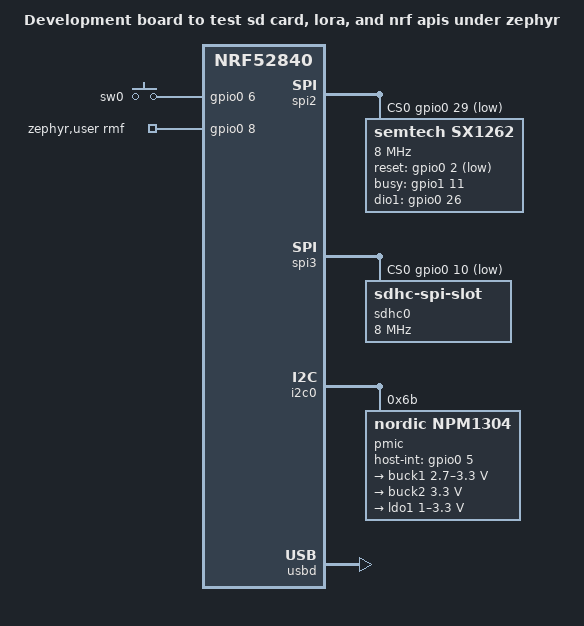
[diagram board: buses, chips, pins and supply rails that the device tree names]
/dts-v1/;

#include <nordic/nrf52840_qiaa.dtsi>
#include <zephyr/dt-bindings/gpio/gpio.h>
#include "cansat_devboard-pinctrl.dtsi"

/ {
	model = "Development board to test sd card, lora, and nrf apis under zephyr";
	compatible = "ksp,cansat-devboard";

	chosen {
		zephyr,sram = &sram0;
		zephyr,flash = &flash0;
		zephyr,code-partition = &slot0_partition;
		zephyr,console = &board_cdc_acm_uart;
		zephyr,shell-uart = &board_cdc_acm_uart;
	};

	buttons {
		compatible = "gpio-keys";

		sw0: sw0 {
			gpios = <&gpio0 6 0>;
			label = "sw0";
		};
	};

	zephyr,user {
		rmf-gpios = <&gpio0 8 GPIO_ACTIVE_HIGH>;
	};
};

// SX1262 LoRa radio
&spi2 {
	status = "okay";
	cs-gpios = <&gpio0 29 GPIO_ACTIVE_LOW>;
	pinctrl-0 = <&spi2_default>;
	pinctrl-1 = <&spi2_sleep>;
	pinctrl-names = "default", "sleep";

	sx1262: lora@0 {
		compatible = "semtech,sx1262";
		reg = <0x0>;
		spi-max-frequency = <DT_FREQ_M(8)>;
		status = "okay";
		reset-gpios = <&gpio0 2 GPIO_ACTIVE_LOW>;
		busy-gpios = <&gpio1 11 GPIO_ACTIVE_HIGH>;
		dio1-gpios = <&gpio0 26 0>;
	};
};

// microSD card over SPI
&spi3 {
	status = "okay";
	cs-gpios = <&gpio0 10 GPIO_ACTIVE_LOW>;
	pinctrl-0 = <&spi3_default>;
	pinctrl-1 = <&spi3_sleep>;
	pinctrl-names = "default", "sleep";

	sdhc0: sdhc@0 {
		compatible = "zephyr,sdhc-spi-slot";
		reg = <0x0>;
		spi-max-frequency = <DT_FREQ_M(8)>;
		status = "okay";

		mmc: mmc {
			compatible = "zephyr,sdmmc-disk";
			disk-name = "SD";
			status = "okay";
		};
	};
};

// nPM1300 battery-management IC
&i2c0 {
	status = "okay";
	pinctrl-0 = <&i2c0_default>;
	pinctrl-1 = <&i2c0_sleep>;
	pinctrl-names = "default", "sleep";

	pmic: pmic@6b {
		compatible = "nordic,npm1304";
		reg = <0x6b>;
		status = "okay";
		/* PMIC GPIO1 -> host P0.05. */
		host-int-gpios = <&gpio0 5 (GPIO_PULL_DOWN | GPIO_ACTIVE_HIGH)>;
		pmic-int-pin = <1>;
		wakeup-source;

		npm1300_charger: charger {
			compatible = "nordic,npm1304-charger";
			term-microvolt = <4200000>;
			term-warm-microvolt = <4000000>;
			current-microamp = <100000>;
			dischg-limit-microamp = <125000>;
			vbus-limit-microamp = <1500000>;
			thermistor-ohms = <10000>;
			thermistor-beta = <47000>;
			charging-enable;
		};

		regulators {
			compatible = "nordic,npm1304-regulator";

			buck1: V3v3 {
				regulator-min-microvolt = <2700000>;
				regulator-max-microvolt = <3300000>;
				regulator-init-microvolt = <3300000>;

				regulator-boot-on;
			};

			buck2: VMCU {
				regulator-min-microvolt = <3300000>;
				regulator-max-microvolt = <3300000>;
				regulator-init-microvolt = <3300000>;

				regulator-boot-on;
				regulator-always-on;
			};

			ldo1: VLDO {
				regulator-min-microvolt = <1000000>;
				regulator-max-microvolt = <3300000>;
			};
		};
	};
};

&flash0 {
	partitions {
		compatible = "fixed-partitions";
		#address-cells = <1>;
		#size-cells = <1>;

		boot_partition: partition@0 {
			label = "mcuboot";
			reg = <0x0 DT_SIZE_K(48)>;
		};

		slot0_partition: partition@c000 {
			label = "image-0";
			reg = <0xc000 DT_SIZE_K(472)>;
		};

		slot1_partition: partition@82000 {
			label = "image-1";
			reg = <0x82000 DT_SIZE_K(472)>;
		};

		storage_partition: partition@f8000 {
			label = "storage";
			reg = <0xf8000 DT_SIZE_K(32)>;
		};
	};
};

zephyr_udc0: &usbd {
	status = "okay";
};

&zephyr_udc0 {
	board_cdc_acm_uart: board_cdc_acm_uart {
		compatible = "zephyr,cdc-acm-uart";
	};
};

&gpiote {
	status = "okay";
};

&gpio0 {
	status = "okay";
};

&gpio1 {
	status = "okay";
};
